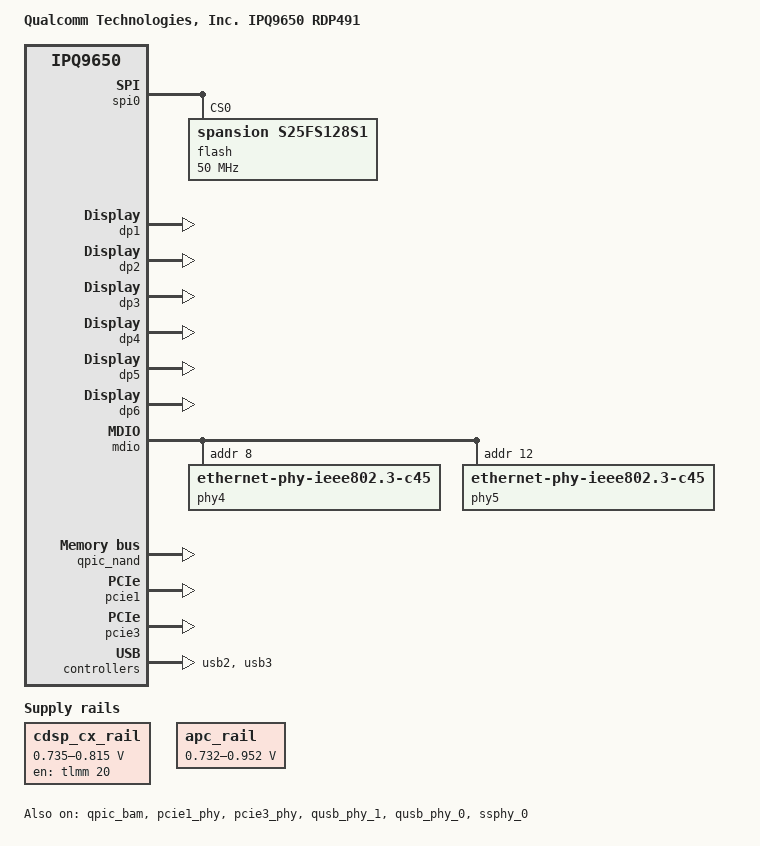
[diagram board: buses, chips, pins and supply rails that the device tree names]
// SPDX-License-Identifier: (GPL-2.0+ OR BSD-3-Clause)
/*
 * IPQ9650 RDP491 board device tree source
 *
 * Copyright (c) 2020-2021 The Linux Foundation. All rights reserved.
 * Copyright (c) Qualcomm Technologies, Inc. and/or its subsidiaries.
 */

/dts-v1/;

#include "ipq9650-rdp-common.dtsi"

/ {
	model = "Qualcomm Technologies, Inc. IPQ9650 RDP491";
	compatible = "qcom,ipq9650-rdp491", "qcom,ipq9650";

	aliases {
		ethernet0 = "/soc/dp1";
		ethernet1 = "/soc/dp2";
		ethernet2 = "/soc/dp3";
		ethernet3 = "/soc/dp4";
		ethernet4 = "/soc/dp5";
		ethernet5 = "/soc/dp6";
	};

	soc@0 {
		qupv3: geniqup@1ac0000 {
			status = "okay";

			spi0: spi@1a80000 {
				pinctrl-0 = <&qup_spi0_default>;
				pinctrl-names = "default";
				status = "okay";

				flash@0 {
					compatible = "spansion,s25fs128s1", "jedec,spi-nor";
					#address-cells = <1>;
					#size-cells = <1>;
					reg = <0>;
					spi-max-frequency = <50000000>;
				};
			};

			i2c3: i2c@1a90000 {
				pinctrl-0 = <&qup_i2c3_default>;
				pinctrl-names = "default";
				status = "disabled";
			};

		};

		dp1 {
			device_type = "network";
			compatible = "qcom,nss-dp";
			qcom,id = <1>;
			reg = <0x2a500000 0x4000>;
			qcom,mactype = <1>;
			local-mac-address = [000000000000];
			qcom,ppe-offload-disabled = <0>;
			pinctrl-0 = <&pps_state>;
			pinctrl-names = "default";
			interrupts = <GIC_SPI 362 IRQ_TYPE_EDGE_RISING>;
			interrupt-names = "pps_in";
			clocks = <&nsscc NSS_CC_XGMAC0_PTP_REF_CLK>;
			clock-names = "ptp";
		};

		dp2 {
			device_type = "network";
			compatible = "qcom,nss-dp";
			qcom,id = <2>;
			reg = <0x2a504000 0x4000>;
			qcom,mactype = <1>;
			local-mac-address = [000000000000];
			qcom,ppe-offload-disabled = <0>;
			clocks = <&nsscc NSS_CC_XGMAC1_PTP_REF_CLK>;
			clock-names = "ptp";
		};

		dp3 {
			device_type = "network";
			compatible = "qcom,nss-dp";
			qcom,id = <3>;
			reg = <0x2a508000 0x4000>;
			qcom,mactype = <1>;
			local-mac-address = [000000000000];
			qcom,ppe-offload-disabled = <0>;
			clocks = <&nsscc NSS_CC_XGMAC2_PTP_REF_CLK>;
			clock-names = "ptp";
		};

		dp4 {
			device_type = "network";
			compatible = "qcom,nss-dp";
			qcom,id = <4>;
			reg = <0x2a50c000 0x4000>;
			qcom,mactype = <1>;
			local-mac-address = [000000000000];
			qcom,ppe-offload-disabled = <0>;
			clocks = <&nsscc NSS_CC_XGMAC3_PTP_REF_CLK>;
			clock-names = "ptp";
		};

		dp5 {
			device_type = "network";
			compatible = "qcom,nss-dp";
			qcom,id = <5>;
			reg = <0x2a510000 0x4000>;
			qcom,mactype = <1>;
			local-mac-address = [000000000000];
			qcom,ppe-offload-disabled = <0>;
			clocks = <&nsscc NSS_CC_XGMAC4_PTP_REF_CLK>;
			clock-names = "ptp";
		};

		dp6 {
			device_type = "network";
			compatible = "qcom,nss-dp";
			qcom,id = <6>;
			reg = <0x2a514000 0x4000>;
			qcom,mactype = <1>;
			local-mac-address = [000000000000];
			qcom,ppe-offload-disabled = <0>;
			clocks = <&nsscc NSS_CC_XGMAC5_PTP_REF_CLK>;
			clock-names = "ptp";
		};

		efuse@a4000 {
			apc_turl1_fuse: apc_turl1_fuse@3fc {
				reg = <0x3fc 0x2>;
				bits = <3 7>;
			};

			apc_nom_fuse: apc_nom_fuse@3fd {
				reg = <0x3fd 0x2>;
				bits = <2 7>;
			};

			apc_svs_fuse: apc_svs_fuse@3fe {
				reg = <0x3fe 0x1>;
				bits = <1 7>;
			};

			nsp_cx_nom_fuse: nsp_cx_nom_fuse@403 {
				reg = <0x403 0x2>;
				bits = <6 7>;
			};

			nsp_cx_svs_fuse: nsp_cx_svs_fuse@406 {
				reg = <0x406 0x2>;
				bits = <2 7>;
			};

			nsp_mx_nom_fuse: nsp_mx_nom_fuse@40b {
				reg = <0x40b 0x2>;
				bits = <6 7>;
			};
		};

		cdsp_cx_rail: cdsp-cx-gpio-regulator {
			compatible = "regulator-gpio";
			regulator-name = "vdd-cdsp-cx";
			regulator-type = "voltage";
			regulator-min-microvolt = <735000>;
			regulator-max-microvolt = <815000>;
			enable-gpio = <&tlmm 20 GPIO_ACTIVE_HIGH>;
			enable-active-high;
			gpios = <&tlmm 17 GPIO_ACTIVE_HIGH>,
				<&tlmm 21 GPIO_ACTIVE_HIGH>;
			gpios-states = <0x3>;
			states = <600000 0x0>,
				 <660000 0x1>,
				 <735000 0x2>,
				 <815000 0x3>;
			pinctrl-0 = <&cdsp_default_state>;
			pinctrl-names = "default";
			status = "okay";
		};

		apc_rail: apc-gpio-regulator {
			compatible = "regulator-gpio";
			regulator-name = "vdd-apc";
			regulator-type = "voltage";
			regulator-boot-on;
			regulator-always-on;
			regulator-min-microvolt = <732000>;
			regulator-max-microvolt = <952000>;
			regulator-ramp-delay = <250>; /* 20ms */
			gpios = <&tlmm 33 GPIO_ACTIVE_HIGH>,
				<&tlmm 34 GPIO_ACTIVE_HIGH>,
				<&tlmm 35 GPIO_ACTIVE_HIGH>;
			gpios-states = <0x7>;
			states = <660000 0x0>,
				 <660000 0x1>,
				 <732000 0x2>,
				 <792000 0x3>,
				 <756000 0x4>,
				 <817000 0x5>,
				 <890000 0x6>,
				 <952000 0x7>;
			status = "okay";
		};

		qcom,gpio-regulator {
			compatible = "qcom,ipq9650-gpio-regulator";
			reg = <0xa4000 0x739>;
			reg-names = "fuse_base";
			apc-supply = <&apc_rail>;
			nvmem-cells = <&apc_nom_fuse>;
			nvmem-cell-names = "cpr_apc_nom";
			status = "disabled";

			apc: apc {
				regulator-min-microvolt = <732000>;
				regulator-max-microvolt = <952000>;
				regulator-boot-on;
				regulator-always-on;
			};
		};
	};
};

&mdio {
	/*
	 * Update pinctrl-0 to remove mdio_slv_state, as the MDIO slave GPIOs
	 * is used for NSP rails on RDP491.
	 */
	pinctrl-0 = <&mdio_mst_state>;
	phy-reset-gpio = <&tlmm 18 GPIO_ACTIVE_LOW>, /* Reset for UNIPHY0 QCE1204. */
			 <&tlmm 25 GPIO_ACTIVE_LOW>, /* Reset for UNIPHY1 QCA81XXs. */
			 <&tlmm 26 GPIO_ACTIVE_LOW>; /* Reset for UNIPHY2 QCA81XXs. */

	phy4: ethernet-phy@8 {
		compatible = "ethernet-phy-ieee802.3-c45";
		reg = <8>;
	};

	phy5: ethernet-phy@c {
		compatible = "ethernet-phy-ieee802.3-c45";
		reg = <12>;
	};
};

&ess_switch {
	switch_mac_mode1 = <0xd>; /* mac mode for uniphy instance1 */
	switch_mac_mode2 = <0xd>; /* mac mode for uniphy instance2 */

	qcom,port_phyinfo {
		port@4 {
			port_id = <5>;
			phy_address = <8>;
			phy-handle = <&phy4>;
			phy-mode = "usxgmii";
			ethernet-phy-ieee802.3-c45;
		};

		port@5 {
			port_id = <6>;
			phy_address = <12>;
			phy-handle = <&phy5>;
			phy-mode = "usxgmii";
			ethernet-phy-ieee802.3-c45;
		};
	};
};

&qpic_bam {
	status = "okay";
};

&qpic_nand {
	status = "okay";
};

&pcie1_phy {
	status = "okay";
};

&pcie1 {
	perst-gpio = <&tlmm 28 GPIO_ACTIVE_LOW>;
	status = "okay";

	pcie1_rp {
		reg = <0 0 0 0 0>;

		qcom,mhi@0 {
			reg = <0 0 0 0 0>;
		};
	};
};

&pcie2_phy {
	status = "disabled";
};

&pcie2 {
	status = "disabled";
};

&pcie3_phy {
	status = "okay";
};

&pcie3 {
	perst-gpio = <&tlmm 41 GPIO_ACTIVE_LOW>;
	status = "okay";

	pcie3_rp {
		reg = <0 0 0 0 0>;

		qcom,mhi@0 {
			reg = <0 0 0 0 0>;
		};
	};
};

&qusb_phy_1 {
	status = "okay";
};

&usb2 {
	status = "okay";
};

&qusb_phy_0 {
	status = "okay";
};

&ssphy_0 {
	status = "okay";
};

&usb3 {
	status = "okay";
};

&tlmm {
	qup_i2c3_default: qup-i2c3-default-state {
		qup_i2c3_scl {
			pins = "gpio14";
			function = "qup_se4_l1";
			drive-strength = <8>;
			bias-pull-down;
		};
		qup_i2c3_sda {
			pins = "gpio15";
			function = "qup_se4_l0";
			drive-strength = <8>;
			bias-pull-down;
		};
	};

	pcie0_default_state: pcie0-default-state {
		perst-n-pins {
			pins = "gpio25";
			function = "gpio";
			drive-strength = <8>;
			bias-pull-up;
			output-low;
		};
	};

	pcie1_default_state: pcie1-default-state {
		perst-n-pins {
			pins = "gpio28";
			function = "gpio";
			drive-strength = <8>;
			bias-pull-down;
			output-low;
		};
	};

	pcie2_default_state: pcie2-default-state {
		perst-n-pins {
			pins = "gpio52";
			function = "gpio";
			drive-strength = <8>;
			bias-pull-down;
			output-low;
		};
	};

	pcie3_default_state: pcie3-default-state {
		perst-n-pins {
			pins = "gpio41";
			function = "gpio";
			drive-strength = <8>;
			bias-pull-up;
			output-low;
		};
	};

	pcie4_default_state: pcie4-default-state {
		perst-n-pins {
			pins = "gpio31";
			function = "gpio";
			drive-strength = <8>;
			bias-pull-down;
			output-low;
		};
	};

	cdsp_default_state: cdsp-default-state {
		vsel0-pins {
			pins = "gpio17";
			function = "gpio";
			drive-strength = <8>;
			bias-pull-up;
			output-high;
		};

		vsel1-pins {
			pins = "gpio21";
			function = "gpio";
			drive-strength = <8>;
			bias-pull-up;
			output-high;
		};

		ena-pins {
			pins = "gpio20";
			function = "gpio";
			drive-strength = <8>;
			bias-pull-up;
			output-high;
		};
	};
};

&CPU0 {
	cpu-supply = <&apc_rail>;
};

&CPU1 {
	cpu-supply = <&apc_rail>;
};

&CPU2 {
	cpu-supply = <&apc_rail>;
};

&CPU3 {
	cpu-supply = <&apc_rail>;
};

&CPU4 {
	cpu-supply = <&apc_rail>;
};

&cpu0_opp_table {
	opp-840000000 {
		/* <target min max> */
		opp-microvolt = <732000 732000 952000>;
	};

	opp-1368000000 {
		/* <target min max> */
		opp-microvolt = <817000 732000 952000>;
	};

	opp-1800000000 {
		/* <target min max> */
		opp-microvolt = <952000 732000 952000>;
	};

	opp-1944000000 {
		/* <target min max> */
		opp-microvolt = <952000 732000 952000>;
	};
};

&cpu4_opp_table {
	opp-456000000 {
		/* <target min max> */
		opp-microvolt = <732000 732000 952000>;
	};

	opp-720000000 {
		/* <target min max> */
		opp-microvolt = <817000 732000 952000>;
	};

	opp-1032000000 {
		/* <target min max> */
		opp-microvolt = <952000 732000 952000>;
	};
};

&cdsp_power {
	vdd-cx-supply = <&cdsp_cx_rail>;
};

&remoteproc_cdsp {
	cx-supply = <&cdsp_vdd_cx>;
};
